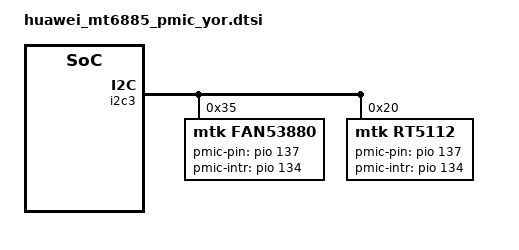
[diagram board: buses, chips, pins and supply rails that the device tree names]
&pio {
	pmic_intr: pmic_intr {
		pins_cmd_dat {
			pinmux = <PINMUX_GPIO134__FUNC_GPIO134>;
			input-enable;
			bias-pull-up;
		};
	};
};

&i2c3 {
	#address-cells = <1>;
	#size-cells = <0>;
	fan53880@35 {
		compatible = "mtk,fan53880";
		reg = <0x35>;
		mtk,pmic_name = "fan53880";
		mtk,pmic_index = <0>;
		mtk,slave_address = <0x35>;
		pmic-pin = <&pio 137 0x0>;
		mtk,pmic_buck_pwm_mode = <1>;
		mtk,pmic_ldo2_ctrl = <1>;
		mtk,pmic_reset = <0>;
		mtk,fault_check = <1>;
		fastboot_i2c_bus = <3>;
		fastboot_support = <1>;
		pmic-intr = <&pio 134 0x0>;
		pinctrl-names = "pmic_intr";
		pinctrl-0 = <&pmic_intr>;
		pmic-en = <137>;
		boost_shield_dmd = <1>;
		boost_shield_irq = <1>;
		status = "ok";
	};

	rt5112@20 {
		compatible = "mtk,rt5112";
		reg = <0x20>;
		mtk,pmic_name = "rt5112";
		mtk,pmic_index = <0>;
		mtk,slave_address = <0x20>;
		pmic-pin = <&pio 137 0x0>;
		mtk,pmic_buck_pwm_mode = <1>;
		mtk,pmic_ldo2_ctrl = <1>;
		mtk,pmic_reset = <0>;
		mtk,fault_check = <1>;
		fastboot_i2c_bus = <3>;
		fastboot_support = <1>;
		pmic-intr = <&pio 134 0x0>;
		pinctrl-names = "pmic_intr";
		pinctrl-0 = <&pmic_intr>;
		pmic-en = <137>;
		boost_shield_dmd = <1>;
		boost_shield_irq = <1>;
		status = "ok";
	};
};
